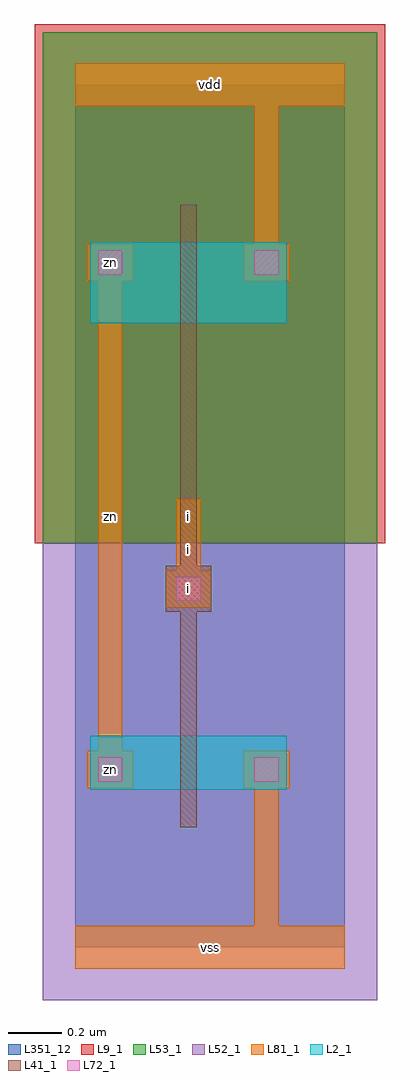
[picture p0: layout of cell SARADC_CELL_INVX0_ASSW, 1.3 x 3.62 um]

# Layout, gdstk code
import gdstk
lib = gdstk.Library(unit=1e-6, precision=1e-09)
def R(c, l, rs):  # rectangles x0, y0, x1, y1
    for r in rs: c.add(gdstk.rectangle(r[:2], r[2:], *l))
def P(c, l, *ps):  # polygons
    for p in ps: c.add(gdstk.Polygon(p, *l))
L0_0 = (0, 0)
L2_1 = (2, 1)
L9_1 = (9, 1)
L41_1 = (41, 1)
L52_1 = (52, 1)
L53_1 = (53, 1)
L72_1 = (72, 1)
L81_1 = (81, 1)
L351_12 = (351, 12)

saradc_cell_invx0_assw = lib.new_cell('SARADC_CELL_INVX0_ASSW')
R(saradc_cell_invx0_assw, L2_1, [(0.055,0.585,0.785,0.785), (0.055,0.585,0.205,0.735), (0.635,0.585,0.785,0.735), (0.055,2.315,0.785,2.615), (0.055,2.465,0.205,2.615), (0.635,2.465,0.785,2.615)])
R(saradc_cell_invx0_assw, L9_1, [(-0.15,1.5,1.15,3.425)])
R(saradc_cell_invx0_assw, L41_1, [(0.39,0.445,0.45,0.925), (0.39,0.63,0.45,2.57), (0.335,1.245,0.505,1.415), (0.39,2.175,0.45,2.755)])
R(saradc_cell_invx0_assw, L52_1, [(-0.12,-0.195,1.12,1.5)])
R(saradc_cell_invx0_assw, L53_1, [(-0.12,1.5,1.12,3.395)])
R(saradc_cell_invx0_assw, L72_1, [(0.085,0.615,0.175,0.705), (0.665,0.615,0.755,0.705), (0.375,1.285,0.465,1.375), (0.085,2.495,0.175,2.585), (0.665,2.495,0.755,2.585)])
P(saradc_cell_invx0_assw, L81_1, [(0,-0.08),(0,0.08),(0.665,0.08),(0.665,0.59),(0.625,0.59),(0.625,0.73),(0.795,0.73),(0.795,0.59),(0.755,0.59),(0.755,0.08),(1,0.08),(1,-0.08)],
  [(0.335,1.26),(0.335,1.4),(0.375,1.4),(0.375,1.665),(0.465,1.665),(0.465,1.4),(0.505,1.4),(0.505,1.26)],
  [(0.045,0.59),(0.045,0.73),(0.085,0.73),(0.085,2.47),(0.045,2.47),(0.045,2.61),(0.215,2.61),(0.215,2.47),(0.175,2.47),(0.175,0.73),(0.215,0.73),(0.215,0.59)],
  [(0.625,2.47),(0.625,2.61),(0.665,2.61),(0.665,3.12),(0,3.12),(0,3.28),(1,3.28),(1,3.12),(0.755,3.12),(0.755,2.61),(0.795,2.61),(0.795,2.47)])
R(saradc_cell_invx0_assw, L351_12, [(0,0,1,3.2)])
saradc_cell_invx0_assw.add(gdstk.FlexPath([(0.045,0.24),(0.795,0.24)], 0, ends="flush", simple_path=True, layer=0, datatype=0))  # L0_0
saradc_cell_invx0_assw.add(gdstk.FlexPath([(0.045,0.66),(0.795,0.66)], 0, ends="flush", simple_path=True, layer=0, datatype=0))  # L0_0
saradc_cell_invx0_assw.add(gdstk.FlexPath([(0.045,0.91),(0.795,0.91)], 0, ends="flush", simple_path=True, layer=0, datatype=0))  # L0_0
saradc_cell_invx0_assw.add(gdstk.FlexPath([(0.045,1.33),(0.795,1.33)], 0, ends="flush", simple_path=True, layer=0, datatype=0))  # L0_0
saradc_cell_invx0_assw.add(gdstk.FlexPath([(0.045,1.62),(0.795,1.62)], 0, ends="flush", simple_path=True, layer=0, datatype=0))  # L0_0
saradc_cell_invx0_assw.add(gdstk.FlexPath([(0.045,2.09),(0.795,2.09)], 0, ends="flush", simple_path=True, layer=0, datatype=0))  # L0_0
saradc_cell_invx0_assw.add(gdstk.FlexPath([(0.045,2.54),(0.795,2.54)], 0, ends="flush", simple_path=True, layer=0, datatype=0))  # L0_0
saradc_cell_invx0_assw.add(gdstk.FlexPath([(0.045,2.96),(0.795,2.96)], 0, ends="flush", simple_path=True, layer=0, datatype=0))  # L0_0
saradc_cell_invx0_assw.add(gdstk.FlexPath([(0.13,0.03),(0.13,3.17)], 0, ends="flush", simple_path=True, layer=0, datatype=0))  # L0_0
saradc_cell_invx0_assw.add(gdstk.FlexPath([(0.42,0.03),(0.42,3.17)], 0, ends="flush", simple_path=True, layer=0, datatype=0))  # L0_0
saradc_cell_invx0_assw.add(gdstk.FlexPath([(0.71,0.03),(0.71,3.17)], 0, ends="flush", simple_path=True, layer=0, datatype=0))  # L0_0
saradc_cell_invx0_assw.add(gdstk.Label('zn', (0.13,0.66), layer=2, texttype=1))
saradc_cell_invx0_assw.add(gdstk.Label('zn', (0.13,2.54), layer=2, texttype=1))
saradc_cell_invx0_assw.add(gdstk.Label('i', (0.42,1.6), layer=41, texttype=1))
saradc_cell_invx0_assw.add(gdstk.Label('i', (0.42,1.33), layer=41, texttype=1))
saradc_cell_invx0_assw.add(gdstk.Label('zn', (0.13,0.66), layer=72, texttype=1))
saradc_cell_invx0_assw.add(gdstk.Label('zn', (0.13,2.54), layer=72, texttype=1))
saradc_cell_invx0_assw.add(gdstk.Label('i', (0.42,1.33), layer=72, texttype=1))
saradc_cell_invx0_assw.add(gdstk.Label('zn', (0.13,0.66), layer=81, texttype=6))
saradc_cell_invx0_assw.add(gdstk.Label('zn', (0.13,2.54), layer=81, texttype=6))
saradc_cell_invx0_assw.add(gdstk.Label('zn', (0.13,1.6), layer=81, texttype=6))
saradc_cell_invx0_assw.add(gdstk.Label('i', (0.42,1.33), layer=81, texttype=6))
saradc_cell_invx0_assw.add(gdstk.Label('i', (0.42,1.475), layer=81, texttype=6))
saradc_cell_invx0_assw.add(gdstk.Label('vss', (0.5,0), layer=81, texttype=6))
saradc_cell_invx0_assw.add(gdstk.Label('vdd', (0.5,3.2), layer=81, texttype=6))

lib.write_gds('SARADC_CELL_INVX0_ASSW.gds')
